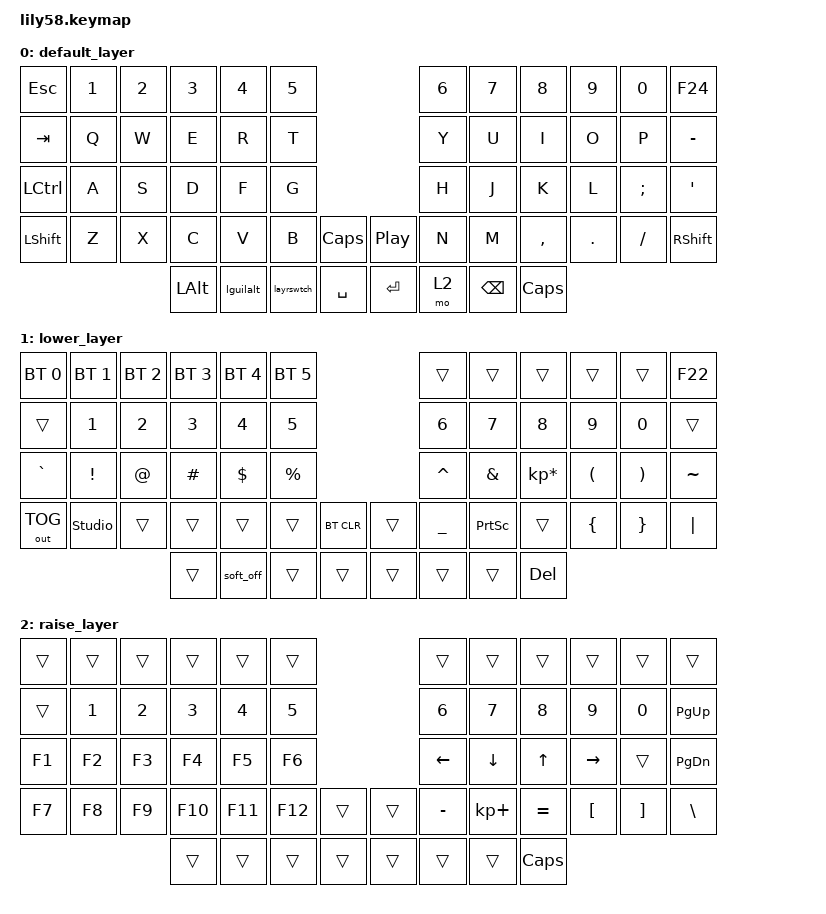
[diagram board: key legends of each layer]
/*
 * Copyright (c) 2020 The ZMK Contributors
 *
 * SPDX-License-Identifier: MIT
 */

#include <behaviors.dtsi>
#include <dt-bindings/zmk/keys.h>
#include <dt-bindings/zmk/bt.h>
#include <dt-bindings/zmk/outputs.h>

&soft_off {
    hold-time-ms = <1000>; // Only turn off it the key is held for 1 second or longer.
};

&mt {
    tapping-term-ms = <138>;
};

/ {

    behaviors {
        lguilalt: tap_dance_0 {
            compatible = "zmk,behavior-tap-dance";
            #binding-cells = <0>;
            tapping-term-ms = <200>;
            bindings = <&kp LGUI>, <&kp LALT>;
        };

        layrswtch: tap_dance_1 {
            compatible = "zmk,behavior-tap-dance";
            #binding-cells = <0>;
            tapping-term-ms = <200>;
            bindings = <&mo 1>, <&mo 2>;
        };

        bkspdel: mod_morph_0 {
            compatible = "zmk,behavior-mod-morph";
            #binding-cells = <0>;
            bindings = <&kp BKSP>, <&kp DEL>;
            mods = <(MOD_LSFT)>;
        };
};

    keymap {
        compatible = "zmk,keymap";

        default_layer {
// ------------------------------------------------------------------------------------------------------------
// |  ESC  |  1  |  2  |  3   |  4     |  5   |                 |  6   |  7     |  8    |  9   |   0   |  F24  |
// |  TAB  |  Q  |  W  |  E   |  R     |  T   |                 |  Y   |  U     |  I    |  O   |   P   |   -   |
// |  CTRL |  A  |  S  |  D   |  F     |  G   |                 |  H   |  J     |  K    |  L   |   ;   |   '   |
// | SHIFT |  Z  |  X  |  C   |  V     |  B   | CAPS  |  |PL/PA |  N   |  M     |  ,    |  .   |   /   | SHIFT |
//                     | ALT  |  GUI   |LOWER | SPACE |  |ENTER | BSPC |  RAISE | GUI   |
            bindings = <
&kp ESC   &kp N1 &kp N2 &kp N3   &kp N4    &kp N5                          &kp N6 &kp N7   &kp N8    &kp N9  &kp N0   &kp F24
&kp TAB   &kp Q  &kp W  &kp E    &kp R     &kp T                           &kp Y  &kp U    &kp I     &kp O   &kp P    &kp MINUS
&kp LCTRL &kp A  &kp S  &kp D    &kp F     &kp G                           &kp H  &kp J    &kp K     &kp L   &kp SEMI &kp SQT
&kp LSHFT &kp Z  &kp X  &kp C    &kp V     &kp B       &kp CAPS  &kp C_PP  &kp N  &kp M    &kp COMMA &kp DOT &kp FSLH &kp RSHFT
                        &kp LALT &lguilalt &layrswtch  &kp SPACE &kp RET   &mo 2  &kp BSPC &kp CAPS
            >;
        };

        lower_layer {
// ------------------------------------------------------------------------------------------------------------
// |  BT0  | BT1 | BT2 | BT3  | BT4  | BT5  |                   |      |       |       |      |       |       |
// |       |  1  |  2  |  3   |  4   |  5   |                   |  6   |   7   |   8   |  9   |   0   |  F22  |
// |   `   |  !  |  @  |  #   |  $   |  %   |                   |  ^   |   &   |   *   |  (   |   )   |   ~   |
// |  TOG  |STUDI|     |      |      |      | BTCLR  |  |       |  _   | PSCRN |       |  {   |   }   |  "|"  |
//                     |      |      |      |SOFTOFF |  |       |      |       |  DEL  |
            bindings = <
&bt BT_SEL 0 &bt BT_SEL 1 &bt BT_SEL 2 &bt BT_SEL 3 &bt BT_SEL 4 &bt BT_SEL 5                      &trans    &trans      &trans          &trans    &trans    &kp F22
&trans    	 &kp N1       &kp N2       &kp N3       &kp N4       &kp N5                            &kp N6    &kp N7      &kp N8          &kp N9    &kp N0    &trans
&kp GRAVE    &kp EXCL     &kp AT       &kp HASH     &kp DOLLAR   &kp PRCNT                         &kp CARET &kp AMPS    &kp KP_MULTIPLY &kp LPAR  &kp RPAR  &kp TILDE
&out OUT_TOG &studio_unlock &trans       &trans       &trans       &trans        &bt BT_CLR  &trans  &kp UNDER &kp PSCRN   &trans          &kp LBRC  &kp RBRC  &kp PIPE
                                       &trans       &soft_off    &trans        &trans      &trans  &trans    &trans      &kp DEL
            >;
        };

        raise_layer {
// ------------------------------------------------------------------------------------------------------------
// |       |     |     |      |      |      |                   |      |       |       |      |       |       |
// |       |  1  |  2  |  3   |  4   |  5   |                   |  6   |   7   |   8   |  9   |   0   | PG_UP |
// |   F1  |  F2 |  F3 |  F4  |  F5  |  F6  |                   |  <-  |   v   |   ^   |  ->  |       | PG_DN |
// |   F7  |  F8 |  F9 |  F10 |  F11 |  F12 |        |  |       |  -   |   +   |   =   |  [   |   ]   |   \   |
//                     |      |      |      |        |  |       |      |       | CAPS  |
            bindings = <
&trans    &trans &trans &trans  &trans  &trans                &trans    &trans    	&trans    &trans    &trans   &trans
&trans    &kp N1 &kp N2 &kp N3  &kp N4  &kp N5                &kp N6    &kp N7    	&kp N8    &kp N9    &kp N0   &kp PG_UP
&kp F1    &kp F2 &kp F3 &kp F4  &kp F5  &kp F6                &kp LEFT  &kp DOWN  	&kp UP    &kp RIGHT &trans   &kp PG_DN
&kp F7    &kp F8 &kp F9 &kp F10 &kp F11 &kp F12 &trans &trans &kp MINUS &kp KP_PLUS &kp EQUAL &kp LBKT 	&kp RBKT &kp BSLH
                        &trans  &trans  &trans  &trans &trans &trans    &trans    	&kp CAPS
            >;
        };
    };
};
